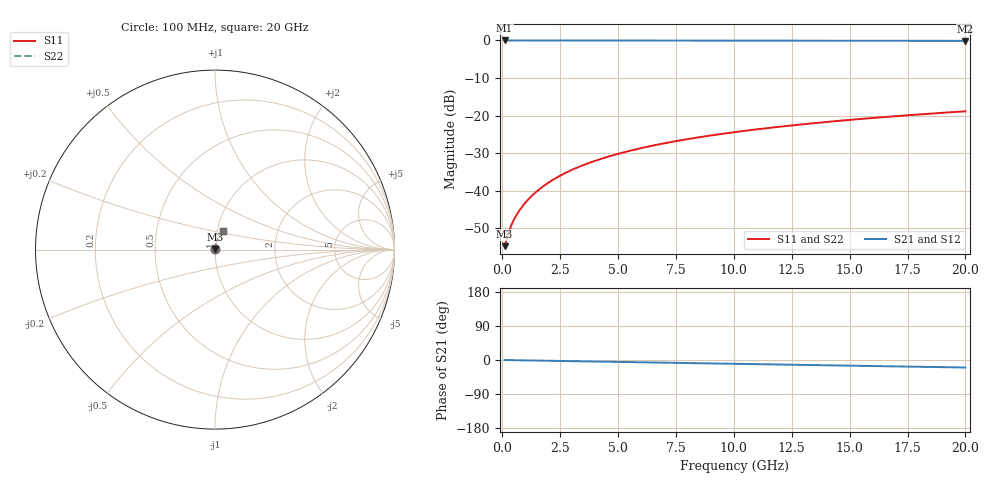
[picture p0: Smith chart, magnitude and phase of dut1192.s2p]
! Touchstone file exported from HFSS 2026.1.0
!  File:  C:/ffzhzh/LocalFiles/Ansys_Project_Files/temp_train_BSMRDL_1192_1783176320_43440.aedt
!  Generated:  10:46:31 PM Jul  4, 2026
!  Design:  BSMRDL
!  Project:  temp_train_BSMRDL_1192_1783176320_43440
! Variables:
!  h_bsmrdl = 3.09um
!  h_ox = 20um
!  h_rdl = 5um
!  h_sub = 80um
!  h_tmrdl = 5um
!  h_tsv = 80um
!  h_via = 3um
!  l_bsmrdl = 309.44um
!  l_sub = 709.44um
!  l_tmrdl = 200um
!  m_sub = 200um
!  pitch = 37.52um
!  r_tsv = 6um
!  s_tmrdl = 10um
!  w_bsmrdl = 26.46um
!  w_sub = 500um
!  w_tmrdl = 12um
!  x_tsv_center1 = 206um
!  x_tsv_center2 = 541.9um
!  x_tsv_center3 = 753.9um
!  x_tsv_center4 = 1089.8um
!  x_tsv_center5 = 1301.8um
!  x_tsv_center6 = 1637.7um
# GHz S MA R 50.000000
! Terminal data exported
! Port[1] = BSM_RDL1_1_T1
! Port[2] = BSM_RDL1_1_T2
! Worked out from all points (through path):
!   200 points, 100 MHz to 20 GHz, reference 50 ohm
!   highest |S21| = -0.01 dB at 100 MHz (marker M1); lowest = -0.1 dB at 20 GHz (marker M2)
!   group delay of S21, straight-line fit = 2.75 ps
!   lowest |S11| = -54.8 dB at 100 MHz (marker M3), VSWR 1.00, Z = 50.2 + j0.0816 ohm
!   |S11| at or under -10 dB: start of sweep to end of sweep
!   |S22| runs from -54.8 to -18.9 dB; largest |S21 - S12| = 4.2e-15
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0.1  0.001829 26.4  0.9984 -0.1  0.9984 -0.1  0.001829 26.4
! Gamma 0 0 0 0
! Port Impedance 50 0 50 0
0.2  0.002358 41.8  0.9982 -0.2  0.9982 -0.2  0.002358 41.8
0.3  0.002952 50.0  0.9981 -0.3  0.9981 -0.3  0.002952 50.0
0.4  0.003538 55.1  0.998 -0.4  0.998 -0.4  0.003538 55.1
0.5  0.004109 58.7  0.9979 -0.5  0.9979 -0.5  0.004109 58.7
0.6  0.004672 61.6  0.9978 -0.6  0.9978 -0.6  0.004672 61.6
0.8  0.005797 66.0  0.9977 -0.8  0.9977 -0.8  0.005797 66.0
1  0.006937 69.1  0.9976 -1.0  0.9976 -1.0  0.006937 69.2
1.2  0.008097 71.5  0.9976 -1.2  0.9976 -1.2  0.008096 71.5
1.7  0.01106 75.2  0.9975 -1.7  0.9975 -1.7  0.01106 75.2
2.2  0.01406 77.1  0.9973 -2.2  0.9973 -2.2  0.01406 77.1
2.8  0.01769 78.3  0.9971 -2.9  0.9971 -2.9  0.01769 78.3
3.5  0.02194 78.9  0.9969 -3.6  0.9969 -3.6  0.02194 78.9
4.2  0.02616 79.0  0.9966 -4.3  0.9966 -4.3  0.02616 79.0
5  0.03096 78.8  0.9962 -5.1  0.9962 -5.1  0.03096 78.8
5.9  0.03631 78.3  0.9957 -6.0  0.9957 -6.0  0.03631 78.3
6.8  0.0416 77.7  0.9952 -6.9  0.9952 -6.9  0.0416 77.7
8.3  0.05031 76.6  0.9943 -8.4  0.9943 -8.4  0.05031 76.6
10.1  0.06056 75.1  0.9932 -10.2  0.9932 -10.2  0.06056 75.1
13.4  0.07888 72.3  0.9909 -13.4  0.9909 -13.4  0.07888 72.3
16.7  0.09666 69.4  0.9885 -16.6  0.9885 -16.6  0.09666 69.4
20  0.1139 66.4  0.986 -19.8  0.986 -19.8  0.1139 66.5
